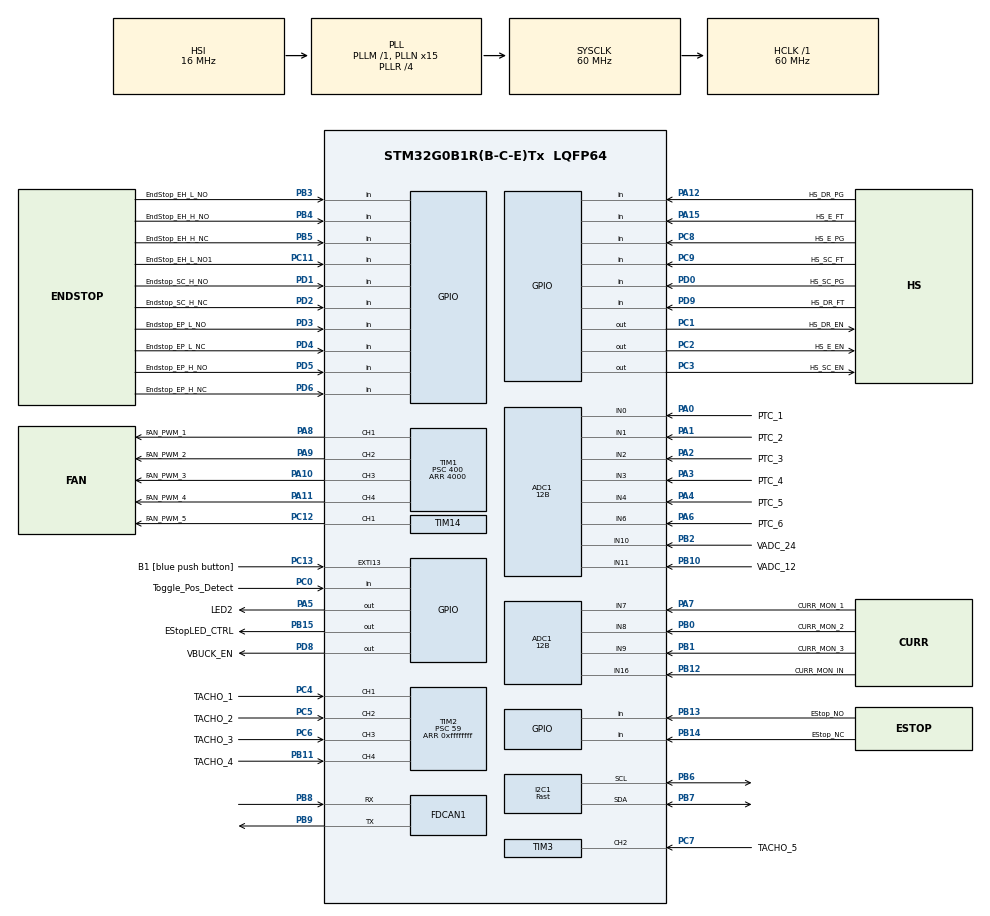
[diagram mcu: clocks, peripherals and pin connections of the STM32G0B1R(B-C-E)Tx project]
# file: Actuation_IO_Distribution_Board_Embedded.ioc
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ADC1.ClockPrescaler=ADC_CLOCK_SYNC_PCLK_DIV2
ADC1.ContinuousConvMode=ENABLE
ADC1.DMAContinuousRequests=DISABLE
ADC1.EOCSelection=ADC_EOC_SEQ_CONV
ADC1.EnableAnalogWatchDog1=false
ADC1.NbrOfConversion=1
ADC1.NbrOfConversionFlag=0
ADC1.Overrun=ADC_OVR_DATA_OVERWRITTEN
ADC1.Resolution=ADC_RESOLUTION_12B
ADC1.SamplingTimeCommon1=ADC_SAMPLETIME_39CYCLES_5
ADC1.SelectedChannel=ADC_CHANNEL_0|ADC_CHANNEL_1|ADC_CHANNEL_2|ADC_CHANNEL_3|ADC_CHANNEL_4|ADC_CHANNEL_6|ADC_CHANNEL_7|ADC_CHANNEL_8|ADC_CHANNEL_9|ADC_CHANNEL_10|ADC_CHANNEL_11|ADC_CHANNEL_16
ADC1.Sequencer=NOT_FULLY_CONFIGURABLE
ADC1.TriggerFrequencyMode=ADC_TRIGGER_FREQ_LOW
ADC1.master=1
Dma.ADC1.0.Direction=DMA_PERIPH_TO_MEMORY
Dma.ADC1.0.EventEnable=DISABLE
Dma.ADC1.0.Instance=DMA1_Channel1
Dma.ADC1.0.MemDataAlignment=DMA_MDATAALIGN_WORD
Dma.ADC1.0.MemInc=DMA_MINC_ENABLE
Dma.ADC1.0.Mode=DMA_CIRCULAR
Dma.ADC1.0.PeriphDataAlignment=DMA_PDATAALIGN_HALFWORD
Dma.ADC1.0.PeriphInc=DMA_PINC_DISABLE
Dma.ADC1.0.Polarity=HAL_DMAMUX_REQ_GEN_RISING
Dma.ADC1.0.Priority=DMA_PRIORITY_LOW
Dma.ADC1.0.RequestNumber=1
Dma.ADC1.0.SignalID=NONE
Dma.ADC1.0.SyncEnable=DISABLE
Dma.ADC1.0.SyncPolarity=HAL_DMAMUX_SYNC_NO_EVENT
Dma.ADC1.0.SyncRequestNumber=1
Dma.ADC1.0.SyncSignalID=NONE
Dma.Request0=ADC1
FDCAN1.AutoRetransmission=ENABLE
FDCAN1.CalculateBaudRateNominal=499999
FDCAN1.CalculateTimeBitNominal=2000
FDCAN1.CalculateTimeQuantumNominal=133.33333333333334
FDCAN1.NominalPrescaler=8
FDCAN1.NominalTimeSeg1=10
FDCAN1.NominalTimeSeg2=4
FDCAN1.StdFiltersNbr=2
I2C1.I2C_Speed_Mode=I2C_Fast
I2C1.Timing=0x00B01E60
Mcu.Family=STM32G0
Mcu.Name=STM32G0B1R(B-C-E)Tx
Mcu.Package=LQFP64
NVIC.TIM16_FDCAN_IT0_IRQn=true\:0\:0\:false\:false\:true\:true\:true\:true
NVIC.TIM2_IRQn=true\:0\:0\:false\:false\:true\:true\:true\:true
NVIC.TIM3_TIM4_IRQn=true\:0\:0\:false\:false\:true\:true\:true\:true
PA0.GPIO_Label=PTC_1
PA0.Mode=IN0
PA0.Signal=ADC1_IN0
PA1.GPIO_Label=PTC_2
PA1.Mode=IN1
PA1.Signal=ADC1_IN1
PA10.GPIO_Label=FAN_PWM_3
PA10.Signal=S_TIM1_CH3
PA11\ [PA9].GPIO_Label=FAN_PWM_4
PA11\ [PA9].Signal=S_TIM1_CH4
PA12\ [PA10].GPIO_Label=HS_DR_PG
PA12\ [PA10].GPIO_PuPd=GPIO_PULLUP
PA12\ [PA10].Signal=GPIO_Input
PA13.GPIO_Label=TMS
PA13.Mode=Serial_Wire
PA13.Signal=SYS_SWDIO
PA14-BOOT0.GPIO_Label=TCK
PA14-BOOT0.Mode=Serial_Wire
PA14-BOOT0.Signal=SYS_SWCLK
PA15.GPIO_Label=HS_E_FT
PA15.GPIO_PuPd=GPIO_PULLUP
PA15.Signal=GPIO_Input
PA2.GPIO_Label=PTC_3
PA2.Mode=IN2
PA2.Signal=ADC1_IN2
PA3.GPIO_Label=PTC_4
PA3.Mode=IN3
PA3.Signal=ADC1_IN3
PA4.GPIO_Label=PTC_5
PA4.Mode=IN4
PA4.Signal=ADC1_IN4
PA5.GPIO_Label=LED2
PA5.Signal=GPIO_Output
PA6.GPIO_Label=PTC_6
PA6.Mode=IN6
PA6.Signal=ADC1_IN6
PA7.GPIO_Label=CURR_MON_1
PA7.Mode=IN7
PA7.Signal=ADC1_IN7
PA8.GPIO_Label=FAN_PWM_1
PA8.Signal=S_TIM1_CH1
PA9.GPIO_Label=FAN_PWM_2
PA9.Signal=S_TIM1_CH2
PB0.GPIO_Label=CURR_MON_2
PB0.Mode=IN8
PB0.Signal=ADC1_IN8
PB1.GPIO_Label=CURR_MON_3
PB1.Mode=IN9
PB1.Signal=ADC1_IN9
PB10.GPIO_Label=VADC_12
PB10.Mode=IN11
PB10.Signal=ADC1_IN11
PB11.GPIO_Label=TACHO_4
PB11.Signal=S_TIM2_CH4
PB12.GPIO_Label=CURR_MON_IN
PB12.Mode=IN16
PB12.Signal=ADC1_IN16
PB13.GPIO_Label=EStop_NO
PB13.GPIO_PuPd=GPIO_PULLUP
PB13.Signal=GPIO_Input
PB14.GPIO_Label=EStop_NC
PB14.GPIO_PuPd=GPIO_PULLUP
PB14.Signal=GPIO_Input
PB15.GPIO_Label=EStopLED_CTRL
PB15.Signal=GPIO_Output
PB2.GPIO_Label=VADC_24
PB2.Mode=IN10
PB2.Signal=ADC1_IN10
PB3.GPIO_Label=EndStop_EH_L_NO
PB3.GPIO_Mode=GPIO_MODE_INPUT
PB3.GPIO_PuPd=GPIO_PULLDOWN
PB3.Signal=GPIO_Input
PB4.GPIO_Label=EndStop_EH_H_NO
PB4.GPIO_PuPd=GPIO_PULLDOWN
PB4.Signal=GPIO_Input
PB5.GPIO_Label=EndStop_EH_H_NC
PB5.GPIO_PuPd=GPIO_PULLDOWN
PB5.Signal=GPIO_Input
PB6.GPIO_Pu=GPIO_PULLUP
PB6.Mode=I2C
PB6.Signal=I2C1_SCL
PB7.GPIO_Pu=GPIO_PULLUP
PB7.Mode=I2C
PB7.Signal=I2C1_SDA
PB8.GPIO_PuPd=GPIO_PULLUP
PB8.Mode=FDCAN_Activate
PB8.Signal=FDCAN1_RX
PB9.GPIO_PuPd=GPIO_NOPULL
PB9.Mode=FDCAN_Activate
PB9.Signal=FDCAN1_TX
PC0.GPIO_Label=Toggle_Pos_Detect
PC0.Signal=GPIO_Input
PC1.GPIO_Label=HS_DR_EN
PC1.Signal=GPIO_Output
PC11.GPIO_Label=EndStop_EH_L_NO1
PC11.GPIO_PuPd=GPIO_PULLDOWN
PC11.Signal=GPIO_Input
PC12.GPIO_Label=FAN_PWM_5
PC12.Signal=S_TIM14_CH1
PC13.GPIO_Label=B1 [blue push button]
PC13.Signal=GPXTI13
PC14-OSC32_IN\ (PC14).Mode=LSE-External-Oscillator
PC14-OSC32_IN\ (PC14).Signal=RCC_OSC32_IN
PC15-OSC32_OUT\ (PC15).Mode=LSE-External-Oscillator
PC15-OSC32_OUT\ (PC15).Signal=RCC_OSC32_OUT
PC2.GPIO_Label=HS_E_EN
PC2.Signal=GPIO_Output
PC3.GPIO_Label=HS_SC_EN
PC3.Signal=GPIO_Output
PC4.GPIO_Label=TACHO_1
PC4.Signal=S_TIM2_CH1_ETR
PC5.GPIO_Label=TACHO_2
PC5.Signal=S_TIM2_CH2
PC6.GPIO_Label=TACHO_3
PC6.Signal=S_TIM2_CH3
PC7.GPIO_Label=TACHO_5
PC7.Signal=S_TIM3_CH2
PC8.GPIO_Label=HS_E_PG
PC8.GPIO_PuPd=GPIO_PULLUP
PC8.Signal=GPIO_Input
PC9.GPIO_Label=HS_SC_FT
PC9.GPIO_PuPd=GPIO_PULLUP
PC9.Signal=GPIO_Input
PD0.GPIO_Label=HS_SC_PG
PD0.GPIO_PuPd=GPIO_PULLUP
PD0.Signal=GPIO_Input
PD1.GPIO_Label=Endstop_SC_H_NO
PD1.GPIO_PuPd=GPIO_PULLDOWN
PD1.Signal=GPIO_Input
PD2.GPIO_Label=Endstop_SC_H_NC
PD2.GPIO_PuPd=GPIO_PULLDOWN
PD2.Signal=GPIO_Input
PD3.GPIO_Label=Endstop_EP_L_NO
PD3.GPIO_PuPd=GPIO_PULLDOWN
PD3.Signal=GPIO_Input
PD4.GPIO_Label=Endstop_EP_L_NC
PD4.GPIO_PuPd=GPIO_PULLDOWN
PD4.Signal=GPIO_Input
PD5.GPIO_Label=Endstop_EP_H_NO
PD5.GPIO_PuPd=GPIO_PULLDOWN
PD5.Signal=GPIO_Input
PD6.GPIO_Label=Endstop_EP_H_NC
PD6.GPIO_PuPd=GPIO_PULLDOWN
PD6.Signal=GPIO_Input
PD8.GPIO_Label=VBUCK_EN
PD8.Signal=GPIO_Output
PD9.GPIO_Label=HS_DR_FT
PD9.GPIO_PuPd=GPIO_PULLUP
PD9.Signal=GPIO_Input
PF0-OSC_IN\ (PF0).Mode=HSE-External-Oscillator
PF0-OSC_IN\ (PF0).Signal=RCC_OSC_IN
PF1-OSC_OUT\ (PF1).Mode=HSE-External-Oscillator
PF1-OSC_OUT\ (PF1).Signal=RCC_OSC_OUT
ProjectManager.HeapSize=0x200
ProjectManager.StackSize=0x400
ProjectManager.TargetToolchain=STM32CubeIDE
RCC.ADCFreq_Value=60000000
RCC.AHBFreq_Value=60000000
RCC.CortexFreq_Value=60000000
RCC.EXTERNAL_CLOCK_VALUE=12288000
RCC.HCLKFreq_Value=60000000
RCC.HSE_VALUE=8000000
RCC.HSI48_VALUE=48000000
RCC.HSISYSCLKDivider=RCC_HSI_DIV2
RCC.HSI_VALUE=16000000
RCC.PLLN=15
RCC.PLLP=RCC_PLLP_DIV6
RCC.PLLR=RCC_PLLR_DIV4
RCC.SYSCLKFreq_VALUE=60000000
RCC.SYSCLKSource=RCC_SYSCLKSOURCE_PLLCLK
RCC.USBFreq_Value=48000000
RCC.VCOOutputFreq_Value=240000000
SH.S_TIM14_CH1.0=TIM14_CH1,PWM Generation1 CH1
SH.S_TIM1_CH1.0=TIM1_CH1,PWM Generation1 CH1
SH.S_TIM1_CH2.0=TIM1_CH2,PWM Generation2 CH2
SH.S_TIM1_CH3.0=TIM1_CH3,PWM Generation3 CH3
SH.S_TIM1_CH4.0=TIM1_CH4,PWM Generation4 CH4
SH.S_TIM2_CH1_ETR.0=TIM2_CH1,Input_Capture1_from_TI1
SH.S_TIM2_CH2.0=TIM2_CH2,Input_Capture2_from_TI2
SH.S_TIM2_CH3.0=TIM2_CH3,Input_Capture3_from_TI3
SH.S_TIM2_CH4.0=TIM2_CH4,Input_Capture4_from_TI4
SH.S_TIM3_CH2.0=TIM3_CH2,Input_Capture2_from_TI2
TIM1.AutoReloadPreload=TIM_AUTORELOAD_PRELOAD_ENABLE
TIM1.Channel-PWM\ Generation1\ CH1=TIM_CHANNEL_1
TIM1.Channel-PWM\ Generation2\ CH2=TIM_CHANNEL_2
TIM1.Channel-PWM\ Generation3\ CH3=TIM_CHANNEL_3
TIM1.Channel-PWM\ Generation4\ CH4=TIM_CHANNEL_4
TIM1.Period=4000
TIM1.Prescaler=400
TIM1.Pulse-PWM\ Generation1\ CH1=200
TIM1.Pulse-PWM\ Generation2\ CH2=1000
TIM1.Pulse-PWM\ Generation3\ CH3=2000
TIM1.Pulse-PWM\ Generation4\ CH4=3000
TIM14.AutoReloadPreload=TIM_AUTORELOAD_PRELOAD_ENABLE
TIM14.Channel=TIM_CHANNEL_1
TIM14.Period=4000
TIM14.Prescaler=400
TIM14.Pulse=500
TIM2.AutoReloadPreload=TIM_AUTORELOAD_PRELOAD_ENABLE
TIM2.Channel-Input_Capture1_from_TI1=TIM_CHANNEL_1
TIM2.Channel-Input_Capture2_from_TI2=TIM_CHANNEL_2
TIM2.Channel-Input_Capture3_from_TI3=TIM_CHANNEL_3
TIM2.Channel-Input_Capture4_from_TI4=TIM_CHANNEL_4
TIM2.Period=0xffffffff
TIM2.Prescaler=59
TIM3.AutoReloadPreload=TIM_AUTORELOAD_PRELOAD_ENABLE
TIM3.Channel-Input_Capture2_from_TI2=TIM_CHANNEL_2
TIM3.Period=0xffff
TIM3.Prescaler=60
VP_SYS_VS_DBSignals.Mode=DisableDeadBatterySignals
VP_TIM14_VS_ClockSourceINT.Mode=Enable_Timer
VP_TIM1_VS_ClockSourceINT.Mode=Internal
VP_TIM2_VS_ClockSourceINT.Mode=Internal
VP_TIM3_VS_ClockSourceINT.Mode=Internal
board=NUCLEO-G0B1RE

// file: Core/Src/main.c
/* USER CODE BEGIN Header */
/**
  ******************************************************************************
  * @file           : main.c
  * @brief          : Main program body
  ******************************************************************************
  * @attention
  *
  * Copyright (c) 2025 STMicroelectronics.
  * All rights reserved.
  *
  * This software is licensed under terms that can be found in the LICENSE file
  * in the root directory of this software component.
  * If no LICENSE file comes with this software, it is provided AS-IS.
  *
  ******************************************************************************
  */
/* USER CODE END Header */
#include "main.h"

/* USER CODE BEGIN Includes */
#include "applogic.h"
#include "CAN_Handler.h"
#include "Fan_PWM.h"
#include "adc_driver.h"
#include "hs_switch.h"
#include "eeprom_driver.h"
/* USER CODE END Includes */

ADC_HandleTypeDef hadc1;
DMA_HandleTypeDef hdma_adc1;

FDCAN_HandleTypeDef hfdcan1;

I2C_HandleTypeDef hi2c1;

TIM_HandleTypeDef htim1;
TIM_HandleTypeDef htim2;
TIM_HandleTypeDef htim3;
TIM_HandleTypeDef htim14;

/* USER CODE BEGIN PV */
AppStateMachine app_sm;     /* not static — referenced by CAN_Handler.c for state telemetry */
/* USER CODE END PV */

void SystemClock_Config(void);
static void MX_GPIO_Init(void);
static void MX_DMA_Init(void);
static void MX_ADC1_Init(void);
static void MX_FDCAN1_Init(void);
static void MX_I2C1_Init(void);
static void MX_TIM1_Init(void);
static void MX_TIM2_Init(void);
static void MX_TIM3_Init(void);
static void MX_TIM14_Init(void);

/* USER CODE BEGIN 0 */

/**
 * @brief  ADC end-of-sequence callback. Re-arms DMA for the next sweep.
 */
void HAL_ADC_ConvCpltCallback(ADC_HandleTypeDef *hadc)
{
    if (hadc->Instance == ADC1) {
        HAL_ADC_Start_DMA(&hadc1, (uint32_t *)ADC_VAL, ADC_BUF_LEN);
    }
}

static void VectorBase_Config(void)
{
    extern const unsigned long g_pfnVectors[];
    SCB->VTOR = (unsigned long)&g_pfnVectors[0];
}

/* USER CODE END 0 */

int main(void)
{

  /* USER CODE BEGIN 1 */
	VectorBase_Config();
  /* USER CODE END 1 */

  /* MCU Configuration--------------------------------------------------------*/

  /* Reset of all peripherals, Initializes the Flash interface and the Systick. */
  HAL_Init();

  /* Configure the system clock */
  SystemClock_Config();

  /* Initialize all configured peripherals */
  MX_GPIO_Init();
  MX_DMA_Init();
  MX_ADC1_Init();
  MX_FDCAN1_Init();
  MX_I2C1_Init();
  MX_TIM1_Init();
  MX_TIM2_Init();
  MX_TIM3_Init();
  MX_TIM14_Init();
  /* USER CODE BEGIN 2 */

  /* High-level application init: ADC calibration + DMA, fan PWM start,
   * tachometer DMA, FDCAN start + filter, EEPROM load + apply boot config. */
  AppLogic_Init(&app_sm);

  /* USER CODE END 2 */

  /* Infinite loop */
  while (1)
  {

    /* USER CODE BEGIN 3 */
    AppLogic_Run(&app_sm);
  }
  /* USER CODE END 3 */
}

void SystemClock_Config(void)
{
  RCC_OscInitTypeDef RCC_OscInitStruct = {0};
  RCC_ClkInitTypeDef RCC_ClkInitStruct = {0};

  /** Configure the main internal regulator output voltage
  */
  HAL_PWREx_ControlVoltageScaling(PWR_REGULATOR_VOLTAGE_SCALE1);

  /** Initializes the RCC Oscillators according to the specified parameters
  * in the RCC_OscInitTypeDef structure.
  */
  RCC_OscInitStruct.OscillatorType = RCC_OSCILLATORTYPE_HSI;
  RCC_OscInitStruct.HSIState = RCC_HSI_ON;
  RCC_OscInitStruct.HSIDiv = RCC_HSI_DIV2;
  RCC_OscInitStruct.HSICalibrationValue = RCC_HSICALIBRATION_DEFAULT;
  RCC_OscInitStruct.PLL.PLLState = RCC_PLL_ON;
  RCC_OscInitStruct.PLL.PLLSource = RCC_PLLSOURCE_HSI;
  RCC_OscInitStruct.PLL.PLLM = RCC_PLLM_DIV1;
  RCC_OscInitStruct.PLL.PLLN = 15;
  RCC_OscInitStruct.PLL.PLLP = RCC_PLLP_DIV6;
  RCC_OscInitStruct.PLL.PLLQ = RCC_PLLQ_DIV2;
  RCC_OscInitStruct.PLL.PLLR = RCC_PLLR_DIV4;
  if (HAL_RCC_OscConfig(&RCC_OscInitStruct) != HAL_OK)
  {
    Error_Handler();
  }

  /** Initializes the CPU, AHB and APB buses clocks
  */
  RCC_ClkInitStruct.ClockType = RCC_CLOCKTYPE_HCLK|RCC_CLOCKTYPE_SYSCLK
                              |RCC_CLOCKTYPE_PCLK1;
  RCC_ClkInitStruct.SYSCLKSource = RCC_SYSCLKSOURCE_PLLCLK;
  RCC_ClkInitStruct.AHBCLKDivider = RCC_SYSCLK_DIV1;
  RCC_ClkInitStruct.APB1CLKDivider = RCC_HCLK_DIV1;

  if (HAL_RCC_ClockConfig(&RCC_ClkInitStruct, FLASH_LATENCY_2) != HAL_OK)
  {
    Error_Handler();
  }
}

static void MX_ADC1_Init(void)
{

  ADC_ChannelConfTypeDef sConfig = {0};

  /** Configure the global features of the ADC (Clock, Resolution, Data Alignment and number of conversion)
  */
  hadc1.Instance = ADC1;
  hadc1.Init.ClockPrescaler = ADC_CLOCK_SYNC_PCLK_DIV2;
  hadc1.Init.Resolution = ADC_RESOLUTION_12B;
  hadc1.Init.DataAlign = ADC_DATAALIGN_RIGHT;
  hadc1.Init.ScanConvMode = ADC_SCAN_SEQ_FIXED;
  hadc1.Init.EOCSelection = ADC_EOC_SEQ_CONV;
  hadc1.Init.LowPowerAutoWait = DISABLE;
  hadc1.Init.LowPowerAutoPowerOff = DISABLE;
  hadc1.Init.ContinuousConvMode = ENABLE;
  hadc1.Init.NbrOfConversion = 1;
  hadc1.Init.ExternalTrigConv = ADC_SOFTWARE_START;
  hadc1.Init.ExternalTrigConvEdge = ADC_EXTERNALTRIGCONVEDGE_NONE;
  hadc1.Init.DMAContinuousRequests = DISABLE;
  hadc1.Init.Overrun = ADC_OVR_DATA_OVERWRITTEN;
  hadc1.Init.SamplingTimeCommon1 = ADC_SAMPLETIME_39CYCLES_5;
  hadc1.Init.OversamplingMode = DISABLE;
  hadc1.Init.TriggerFrequencyMode = ADC_TRIGGER_FREQ_LOW;
  if (HAL_ADC_Init(&hadc1) != HAL_OK)
  {
    Error_Handler();
  }

  /** Configure Regular Channel
  */
  sConfig.Channel = ADC_CHANNEL_0;
  sConfig.Rank = ADC_RANK_CHANNEL_NUMBER;
  if (HAL_ADC_ConfigChannel(&hadc1, &sConfig) != HAL_OK)
  {
    Error_Handler();
  }

  /** Configure Regular Channel
  */
  sConfig.Channel = ADC_CHANNEL_1;
  if (HAL_ADC_ConfigChannel(&hadc1, &sConfig) != HAL_OK)
  {
    Error_Handler();
  }

  /** Configure Regular Channel
  */
  sConfig.Channel = ADC_CHANNEL_2;
  if (HAL_ADC_ConfigChannel(&hadc1, &sConfig) != HAL_OK)
  {
    Error_Handler();
  }

  /** Configure Regular Channel
  */
  sConfig.Channel = ADC_CHANNEL_3;
  if (HAL_ADC_ConfigChannel(&hadc1, &sConfig) != HAL_OK)
  {
    Error_Handler();
  }

  /** Configure Regular Channel
  */
  sConfig.Channel = ADC_CHANNEL_4;
  if (HAL_ADC_ConfigChannel(&hadc1, &sConfig) != HAL_OK)
  {
    Error_Handler();
  }

  /** Configure Regular Channel
  */
  sConfig.Channel = ADC_CHANNEL_6;
  if (HAL_ADC_ConfigChannel(&hadc1, &sConfig) != HAL_OK)
  {
    Error_Handler();
  }

  /** Configure Regular Channel
  */
  sConfig.Channel = ADC_CHANNEL_7;
  if (HAL_ADC_ConfigChannel(&hadc1, &sConfig) != HAL_OK)
  {
    Error_Handler();
  }

  /** Configure Regular Channel
  */
  sConfig.Channel = ADC_CHANNEL_8;
  if (HAL_ADC_ConfigChannel(&hadc1, &sConfig) != HAL_OK)
  {
    Error_Handler();
  }

  /** Configure Regular Channel
  */
  sConfig.Channel = ADC_CHANNEL_9;
  if (HAL_ADC_ConfigChannel(&hadc1, &sConfig) != HAL_OK)
  {
    Error_Handler();
  }

  /** Configure Regular Channel
  */
  sConfig.Channel = ADC_CHANNEL_10;
  if (HAL_ADC_ConfigChannel(&hadc1, &sConfig) != HAL_OK)
  {
    Error_Handler();
  }

  /** Configure Regular Channel
  */
  sConfig.Channel = ADC_CHANNEL_11;
  if (HAL_ADC_ConfigChannel(&hadc1, &sConfig) != HAL_OK)
  {
    Error_Handler();
  }

  /** Configure Regular Channel
  */
  sConfig.Channel = ADC_CHANNEL_16;
  if (HAL_ADC_ConfigChannel(&hadc1, &sConfig) != HAL_OK)
  {
    Error_Handler();
  }

}

static void MX_FDCAN1_Init(void)
{

  hfdcan1.Instance = FDCAN1;
  hfdcan1.Init.ClockDivider = FDCAN_CLOCK_DIV1;
  hfdcan1.Init.FrameFormat = FDCAN_FRAME_CLASSIC;
  hfdcan1.Init.Mode = FDCAN_MODE_NORMAL;
  hfdcan1.Init.AutoRetransmission = ENABLE;
  hfdcan1.Init.TransmitPause = DISABLE;
  hfdcan1.Init.ProtocolException = DISABLE;
  hfdcan1.Init.NominalPrescaler = 8;
  hfdcan1.Init.NominalSyncJumpWidth = 1;
  hfdcan1.Init.NominalTimeSeg1 = 10;
  hfdcan1.Init.NominalTimeSeg2 = 4;
  hfdcan1.Init.DataPrescaler = 1;
  hfdcan1.Init.DataSyncJumpWidth = 1;
  hfdcan1.Init.DataTimeSeg1 = 1;
  hfdcan1.Init.DataTimeSeg2 = 1;
  hfdcan1.Init.StdFiltersNbr = 2;
  hfdcan1.Init.ExtFiltersNbr = 0;
  hfdcan1.Init.TxFifoQueueMode = FDCAN_TX_FIFO_OPERATION;
  if (HAL_FDCAN_Init(&hfdcan1) != HAL_OK)
  {
    Error_Handler();
  }

}

static void MX_I2C1_Init(void)
{

  hi2c1.Instance = I2C1;
  hi2c1.Init.Timing = 0x00B01E60;
  hi2c1.Init.OwnAddress1 = 0;
  hi2c1.Init.AddressingMode = I2C_ADDRESSINGMODE_7BIT;
  hi2c1.Init.DualAddressMode = I2C_DUALADDRESS_DISABLE;
  hi2c1.Init.OwnAddress2 = 0;
  hi2c1.Init.OwnAddress2Masks = I2C_OA2_NOMASK;
  hi2c1.Init.GeneralCallMode = I2C_GENERALCALL_DISABLE;
  hi2c1.Init.NoStretchMode = I2C_NOSTRETCH_DISABLE;
  if (HAL_I2C_Init(&hi2c1) != HAL_OK)
  {
    Error_Handler();
  }

  /** Configure Analogue filter
  */
  if (HAL_I2CEx_ConfigAnalogFilter(&hi2c1, I2C_ANALOGFILTER_ENABLE) != HAL_OK)
  {
    Error_Handler();
  }

  /** Configure Digital filter
  */
  if (HAL_I2CEx_ConfigDigitalFilter(&hi2c1, 0) != HAL_OK)
  {
    Error_Handler();
  }

}

static void MX_TIM1_Init(void)
{

  TIM_ClockConfigTypeDef sClockSourceConfig = {0};
  TIM_MasterConfigTypeDef sMasterConfig = {0};
  TIM_OC_InitTypeDef sConfigOC = {0};
  TIM_BreakDeadTimeConfigTypeDef sBreakDeadTimeConfig = {0};

  htim1.Instance = TIM1;
  htim1.Init.Prescaler = 400;
  htim1.Init.CounterMode = TIM_COUNTERMODE_UP;
  htim1.Init.Period = 4000;
  htim1.Init.ClockDivision = TIM_CLOCKDIVISION_DIV1;
  htim1.Init.RepetitionCounter = 0;
  htim1.Init.AutoReloadPreload = TIM_AUTORELOAD_PRELOAD_ENABLE;
  if (HAL_TIM_Base_Init(&htim1) != HAL_OK)
  {
    Error_Handler();
  }
  sClockSourceConfig.ClockSource = TIM_CLOCKSOURCE_INTERNAL;
  if (HAL_TIM_ConfigClockSource(&htim1, &sClockSourceConfig) != HAL_OK)
  {
    Error_Handler();
  }
  if (HAL_TIM_PWM_Init(&htim1) != HAL_OK)
  {
    Error_Handler();
  }
  sMasterConfig.MasterOutputTrigger = TIM_TRGO_RESET;
  sMasterConfig.MasterOutputTrigger2 = TIM_TRGO2_RESET;
  sMasterConfig.MasterSlaveMode = TIM_MASTERSLAVEMODE_DISABLE;
  if (HAL_TIMEx_MasterConfigSynchronization(&htim1, &sMasterConfig) != HAL_OK)
  {
    Error_Handler();
  }
  sConfigOC.OCMode = TIM_OCMODE_PWM1;
  sConfigOC.Pulse = 200;
  sConfigOC.OCPolarity = TIM_OCPOLARITY_HIGH;
  sConfigOC.OCNPolarity = TIM_OCNPOLARITY_HIGH;
  sConfigOC.OCFastMode = TIM_OCFAST_DISABLE;
  sConfigOC.OCIdleState = TIM_OCIDLESTATE_RESET;
  sConfigOC.OCNIdleState = TIM_OCNIDLESTATE_RESET;
  if (HAL_TIM_PWM_ConfigChannel(&htim1, &sConfigOC, TIM_CHANNEL_1) != HAL_OK)
  {
    Error_Handler();
  }
  sConfigOC.Pulse = 1000;
  if (HAL_TIM_PWM_ConfigChannel(&htim1, &sConfigOC, TIM_CHANNEL_2) != HAL_OK)
  {
    Error_Handler();
  }
  sConfigOC.Pulse = 2000;
  if (HAL_TIM_PWM_ConfigChannel(&htim1, &sConfigOC, TIM_CHANNEL_3) != HAL_OK)
  {
    Error_Handler();
  }
  sConfigOC.Pulse = 3000;
  if (HAL_TIM_PWM_ConfigChannel(&htim1, &sConfigOC, TIM_CHANNEL_4) != HAL_OK)
  {
    Error_Handler();
  }
  sBreakDeadTimeConfig.OffStateRunMode = TIM_OSSR_DISABLE;
  sBreakDeadTimeConfig.OffStateIDLEMode = TIM_OSSI_DISABLE;
  sBreakDeadTimeConfig.LockLevel = TIM_LOCKLEVEL_OFF;
  sBreakDeadTimeConfig.DeadTime = 0;
  sBreakDeadTimeConfig.BreakState = TIM_BREAK_DISABLE;
  sBreakDeadTimeConfig.BreakPolarity = TIM_BREAKPOLARITY_HIGH;
  sBreakDeadTimeConfig.BreakFilter = 0;
  sBreakDeadTimeConfig.BreakAFMode = TIM_BREAK_AFMODE_INPUT;
  sBreakDeadTimeConfig.Break2State = TIM_BREAK2_DISABLE;
  sBreakDeadTimeConfig.Break2Polarity = TIM_BREAK2POLARITY_HIGH;
  sBreakDeadTimeConfig.Break2Filter = 0;
  sBreakDeadTimeConfig.Break2AFMode = TIM_BREAK_AFMODE_INPUT;
  sBreakDeadTimeConfig.AutomaticOutput = TIM_AUTOMATICOUTPUT_DISABLE;
  if (HAL_TIMEx_ConfigBreakDeadTime(&htim1, &sBreakDeadTimeConfig) != HAL_OK)
  {
    Error_Handler();
  }
  HAL_TIM_MspPostInit(&htim1);

}

static void MX_TIM2_Init(void)
{

  TIM_ClockConfigTypeDef sClockSourceConfig = {0};
  TIM_MasterConfigTypeDef sMasterConfig = {0};
  TIM_IC_InitTypeDef sConfigIC = {0};

  htim2.Instance = TIM2;
  htim2.Init.Prescaler = 59;
  htim2.Init.CounterMode = TIM_COUNTERMODE_UP;
  htim2.Init.Period = 0xffffffff;
  htim2.Init.ClockDivision = TIM_CLOCKDIVISION_DIV1;
  htim2.Init.AutoReloadPreload = TIM_AUTORELOAD_PRELOAD_ENABLE;
  if (HAL_TIM_Base_Init(&htim2) != HAL_OK)
  {
    Error_Handler();
  }
  sClockSourceConfig.ClockSource = TIM_CLOCKSOURCE_INTERNAL;
  if (HAL_TIM_ConfigClockSource(&htim2, &sClockSourceConfig) != HAL_OK)
  {
    Error_Handler();
  }
  if (HAL_TIM_IC_Init(&htim2) != HAL_OK)
  {
    Error_Handler();
  }
  sMasterConfig.MasterOutputTrigger = TIM_TRGO_RESET;
  sMasterConfig.MasterSlaveMode = TIM_MASTERSLAVEMODE_DISABLE;
  if (HAL_TIMEx_MasterConfigSynchronization(&htim2, &sMasterConfig) != HAL_OK)
  {
    Error_Handler();
  }
  sConfigIC.ICPolarity = TIM_INPUTCHANNELPOLARITY_RISING;
  sConfigIC.ICSelection = TIM_ICSELECTION_DIRECTTI;
  sConfigIC.ICPrescaler = TIM_ICPSC_DIV1;
  sConfigIC.ICFilter = 0;
  if (HAL_TIM_IC_ConfigChannel(&htim2, &sConfigIC, TIM_CHANNEL_1) != HAL_OK)
  {
    Error_Handler();
  }
  if (HAL_TIM_IC_ConfigChannel(&htim2, &sConfigIC, TIM_CHANNEL_2) != HAL_OK)
  {
    Error_Handler();
  }
  if (HAL_TIM_IC_ConfigChannel(&htim2, &sConfigIC, TIM_CHANNEL_3) != HAL_OK)
  {
    Error_Handler();
  }
  if (HAL_TIM_IC_ConfigChannel(&htim2, &sConfigIC, TIM_CHANNEL_4) != HAL_OK)
  {
    Error_Handler();
  }

}

static void MX_TIM3_Init(void)
{

  TIM_ClockConfigTypeDef sClockSourceConfig = {0};
  TIM_MasterConfigTypeDef sMasterConfig = {0};
  TIM_IC_InitTypeDef sConfigIC = {0};

  htim3.Instance = TIM3;
  htim3.Init.Prescaler = 60;
  htim3.Init.CounterMode = TIM_COUNTERMODE_UP;
  htim3.Init.Period = 0xffff;
  htim3.Init.ClockDivision = TIM_CLOCKDIVISION_DIV1;
  htim3.Init.AutoReloadPreload = TIM_AUTORELOAD_PRELOAD_ENABLE;
  if (HAL_TIM_Base_Init(&htim3) != HAL_OK)
  {
    Error_Handler();
  }
  sClockSourceConfig.ClockSource = TIM_CLOCKSOURCE_INTERNAL;
  if (HAL_TIM_ConfigClockSource(&htim3, &sClockSourceConfig) != HAL_OK)
  {
    Error_Handler();
  }
  if (HAL_TIM_IC_Init(&htim3) != HAL_OK)
  {
    Error_Handler();
  }
  sMasterConfig.MasterOutputTrigger = TIM_TRGO_RESET;
  sMasterConfig.MasterSlaveMode = TIM_MASTERSLAVEMODE_DISABLE;
  if (HAL_TIMEx_MasterConfigSynchronization(&htim3, &sMasterConfig) != HAL_OK)
  {
    Error_Handler();
  }
  sConfigIC.ICPolarity = TIM_INPUTCHANNELPOLARITY_RISING;
  sConfigIC.ICSelection = TIM_ICSELECTION_DIRECTTI;
  sConfigIC.ICPrescaler = TIM_ICPSC_DIV1;
  sConfigIC.ICFilter = 0;
  if (HAL_TIM_IC_ConfigChannel(&htim3, &sConfigIC, TIM_CHANNEL_2) != HAL_OK)
  {
    Error_Handler();
  }

}

static void MX_TIM14_Init(void)
{

  TIM_OC_InitTypeDef sConfigOC = {0};

  htim14.Instance = TIM14;
  htim14.Init.Prescaler = 400;
  htim14.Init.CounterMode = TIM_COUNTERMODE_UP;
  htim14.Init.Period = 4000;
  htim14.Init.ClockDivision = TIM_CLOCKDIVISION_DIV1;
  htim14.Init.AutoReloadPreload = TIM_AUTORELOAD_PRELOAD_ENABLE;
  if (HAL_TIM_Base_Init(&htim14) != HAL_OK)
  {
    Error_Handler();
  }
  if (HAL_TIM_PWM_Init(&htim14) != HAL_OK)
  {
    Error_Handler();
  }
  sConfigOC.OCMode = TIM_OCMODE_PWM1;
  sConfigOC.Pulse = 500;
  sConfigOC.OCPolarity = TIM_OCPOLARITY_HIGH;
  sConfigOC.OCFastMode = TIM_OCFAST_DISABLE;
  if (HAL_TIM_PWM_ConfigChannel(&htim14, &sConfigOC, TIM_CHANNEL_1) != HAL_OK)
  {
    Error_Handler();
  }
  HAL_TIM_MspPostInit(&htim14);

}

static void MX_DMA_Init(void)
{

  /* DMA controller clock enable */
  __HAL_RCC_DMA1_CLK_ENABLE();

}

static void MX_GPIO_Init(void)
{
  GPIO_InitTypeDef GPIO_InitStruct = {0};

  /* GPIO Ports Clock Enable */
  __HAL_RCC_GPIOC_CLK_ENABLE();
  __HAL_RCC_GPIOF_CLK_ENABLE();
  __HAL_RCC_GPIOA_CLK_ENABLE();
  __HAL_RCC_GPIOB_CLK_ENABLE();
  __HAL_RCC_GPIOD_CLK_ENABLE();

  /*Configure GPIO pin Output Level */
  HAL_GPIO_WritePin(GPIOC, HS_DR_EN_Pin|HS_E_EN_Pin|HS_SC_EN_Pin, GPIO_PIN_RESET);

  /*Configure GPIO pin Output Level */
  HAL_GPIO_WritePin(LED2_GPIO_Port, LED2_Pin, GPIO_PIN_RESET);

  /*Configure GPIO pin Output Level */
  HAL_GPIO_WritePin(EStopLED_CTRL_GPIO_Port, EStopLED_CTRL_Pin, GPIO_PIN_RESET);

  /*Configure GPIO pin Output Level */
  HAL_GPIO_WritePin(VBUCK_EN_GPIO_Port, VBUCK_EN_Pin, GPIO_PIN_RESET);

  /*Configure GPIO pin : EndStop_EH_L_NO1_Pin */
  GPIO_InitStruct.Pin = EndStop_EH_L_NO1_Pin;
  GPIO_InitStruct.Mode = GPIO_MODE_INPUT;
  GPIO_InitStruct.Pull = GPIO_PULLDOWN;
  HAL_GPIO_Init(EndStop_EH_L_NO1_GPIO_Port, &GPIO_InitStruct);

  /*Configure GPIO pin : B1_Pin */
  GPIO_InitStruct.Pin = B1_Pin;
  GPIO_InitStruct.Mode = GPIO_MODE_IT_RISING;
  GPIO_InitStruct.Pull = GPIO_NOPULL;
  HAL_GPIO_Init(B1_GPIO_Port, &GPIO_InitStruct);

  /*Configure GPIO pin : Toggle_Pos_Detect_Pin */
  GPIO_InitStruct.Pin = Toggle_Pos_Detect_Pin;
  GPIO_InitStruct.Mode = GPIO_MODE_INPUT;
  GPIO_InitStruct.Pull = GPIO_NOPULL;
  HAL_GPIO_Init(Toggle_Pos_Detect_GPIO_Port, &GPIO_InitStruct);

  /*Configure GPIO pins : HS_DR_EN_Pin HS_E_EN_Pin HS_SC_EN_Pin */
  GPIO_InitStruct.Pin = HS_DR_EN_Pin|HS_E_EN_Pin|HS_SC_EN_Pin;
  GPIO_InitStruct.Mode = GPIO_MODE_OUTPUT_PP;
  GPIO_InitStruct.Pull = GPIO_NOPULL;
  GPIO_InitStruct.Speed = GPIO_SPEED_FREQ_LOW;
  HAL_GPIO_Init(GPIOC, &GPIO_InitStruct);

  /*Configure GPIO pin : LED2_Pin */
  GPIO_InitStruct.Pin = LED2_Pin;
  GPIO_InitStruct.Mode = GPIO_MODE_OUTPUT_PP;
  GPIO_InitStruct.Pull = GPIO_NOPULL;
  GPIO_InitStruct.Speed = GPIO_SPEED_FREQ_LOW;
  HAL_GPIO_Init(LED2_GPIO_Port, &GPIO_InitStruct);

  /*Configure GPIO pins : EStop_NO_Pin EStop_NC_Pin */
  GPIO_InitStruct.Pin = EStop_NO_Pin|EStop_NC_Pin;
  GPIO_InitStruct.Mode = GPIO_MODE_INPUT;
  GPIO_InitStruct.Pull = GPIO_PULLUP;
  HAL_GPIO_Init(GPIOB, &GPIO_InitStruct);

  /*Configure GPIO pin : EStopLED_CTRL_Pin */
  GPIO_InitStruct.Pin = EStopLED_CTRL_Pin;
  GPIO_InitStruct.Mode = GPIO_MODE_OUTPUT_PP;
  GPIO_InitStruct.Pull = GPIO_NOPULL;
  GPIO_InitStruct.Speed = GPIO_SPEED_FREQ_LOW;
  HAL_GPIO_Init(EStopLED_CTRL_GPIO_Port, &GPIO_InitStruct);

  /*Configure GPIO pin : VBUCK_EN_Pin */
  GPIO_InitStruct.Pin = VBUCK_EN_Pin;
  GPIO_InitStruct.Mode = GPIO_MODE_OUTPUT_PP;
  GPIO_InitStruct.Pull = GPIO_NOPULL;
  GPIO_InitStruct.Speed = GPIO_SPEED_FREQ_LOW;
  HAL_GPIO_Init(VBUCK_EN_GPIO_Port, &GPIO_InitStruct);

  /*Configure GPIO pins : HS_DR_FT_Pin HS_SC_PG_Pin */
  GPIO_InitStruct.Pin = HS_DR_FT_Pin|HS_SC_PG_Pin;
  GPIO_InitStruct.Mode = GPIO_MODE_INPUT;
  GPIO_InitStruct.Pull = GPIO_PULLUP;
  HAL_GPIO_Init(GPIOD, &GPIO_InitStruct);

  /*Configure GPIO pins : HS_DR_PG_Pin HS_E_FT_Pin */
  GPIO_InitStruct.Pin = HS_DR_PG_Pin|HS_E_FT_Pin;
  GPIO_InitStruct.Mode = GPIO_MODE_INPUT;
  GPIO_InitStruct.Pull = GPIO_PULLUP;
  HAL_GPIO_Init(GPIOA, &GPIO_InitStruct);

  /*Configure GPIO pins : HS_E_PG_Pin HS_SC_FT_Pin */
  GPIO_InitStruct.Pin = HS_E_PG_Pin|HS_SC_FT_Pin;
  GPIO_InitStruct.Mode = GPIO_MODE_INPUT;
  GPIO_InitStruct.Pull = GPIO_PULLUP;
  HAL_GPIO_Init(GPIOC, &GPIO_InitStruct);

  /*Configure GPIO pins : Endstop_SC_H_NO_Pin Endstop_SC_H_NC_Pin Endstop_EP_L_NO_Pin Endstop_EP_L_NC_Pin
                           Endstop_EP_H_NO_Pin Endstop_EP_H_NC_Pin */
  GPIO_InitStruct.Pin = Endstop_SC_H_NO_Pin|Endstop_SC_H_NC_Pin|Endstop_EP_L_NO_Pin|Endstop_EP_L_NC_Pin
                          |Endstop_EP_H_NO_Pin|Endstop_EP_H_NC_Pin;
  GPIO_InitStruct.Mode = GPIO_MODE_INPUT;
  GPIO_InitStruct.Pull = GPIO_PULLDOWN;
  HAL_GPIO_Init(GPIOD, &GPIO_InitStruct);

  /*Configure GPIO pins : EndStop_EH_L_NO_Pin EndStop_EH_H_NO_Pin EndStop_EH_H_NC_Pin */
  GPIO_InitStruct.Pin = EndStop_EH_L_NO_Pin|EndStop_EH_H_NO_Pin|EndStop_EH_H_NC_Pin;
  GPIO_InitStruct.Mode = GPIO_MODE_INPUT;
  GPIO_InitStruct.Pull = GPIO_PULLDOWN;
  HAL_GPIO_Init(GPIOB, &GPIO_InitStruct);

  /* USER CODE BEGIN MX_GPIO_Init_2 */

  /* Re-init EStop / Endstop inputs with internal pull-ups.
   *
   * CubeMX currently generates these pins as GPIO_NOPULL, which leaves
   * unconnected (open-contact) switch inputs floating — they pick up
   * nanosecond noise from adjacent traces and produce random 0/1 reads.
   * The CAN BCAST_GPIO frame showed all of these bits flickering even
   * though the physical switches weren't moving.
   *
   * Standard wiring on this board is "switch to GND", so a pull-up
   * gives: open = 1, closed = 0. The same convention as the existing
   * HS_*_PG / HS_*_FT pins (which were already PULLUP and stable).
   *
   * TODO(CubeMX): also flip Pull to GPIO_PULLUP for these pin groups
   *               in the .ioc so the regenerated MX_GPIO_Init matches
   *               and this override becomes redundant.
   */
  {
    GPIO_InitTypeDef pull_fix = {0};
    pull_fix.Mode = GPIO_MODE_INPUT;
    pull_fix.Pull = GPIO_PULLUP;

    /* GPIOC : EneStop_EH_L_NO1 (PC11) — Toggle_Pos_Detect (PC0) stays NOPULL
     * because it has its own external bias on the board. */
    pull_fix.Pin = EndStop_EH_L_NO1_Pin;
    HAL_GPIO_Init(EndStop_EH_L_NO1_GPIO_Port, &pull_fix);

    /* GPIOB : EStop_NO/NC + EndStop_EH_L_NO / EH_H_NO / EH_H_NC */
    pull_fix.Pin = EStop_NO_Pin | EStop_NC_Pin
                 | EndStop_EH_L_NO_Pin | EndStop_EH_H_NO_Pin | EndStop_EH_H_NC_Pin;
    HAL_GPIO_Init(GPIOB, &pull_fix);

    /* GPIOD : Endstop_SC_H_NO/NC + Endstop_EP_L_NO/NC + Endstop_EP_H_NO/NC */
    pull_fix.Pin = Endstop_SC_H_NO_Pin | Endstop_SC_H_NC_Pin
                 | Endstop_EP_L_NO_Pin | Endstop_EP_L_NC_Pin
                 | Endstop_EP_H_NO_Pin | Endstop_EP_H_NC_Pin;
    HAL_GPIO_Init(GPIOD, &pull_fix);
  }

  /* USER CODE END MX_GPIO_Init_2 */
}

void Error_Handler(void)
{
  __disable_irq();
  while (1)
  {
  }
}
#ifdef USE_FULL_ASSERT
/**
  * @brief  Reports the name of the source file and the source line number
  *         where the assert_param error has occurred.
  * @param  file: pointer to the source file name
  * @param  line: assert_param error line source number
  * @retval None
  */
void assert_failed(uint8_t *file, uint32_t line)
{
  /* USER CODE BEGIN 6 */
  /* User can add his own implementation to report the file name and line number,
     ex: printf("Wrong parameters value: file %s on line %d\r\n", file, line) */
  (void)file;
  (void)line;
  /* USER CODE END 6 */
}
#endif /* USE_FULL_ASSERT */
